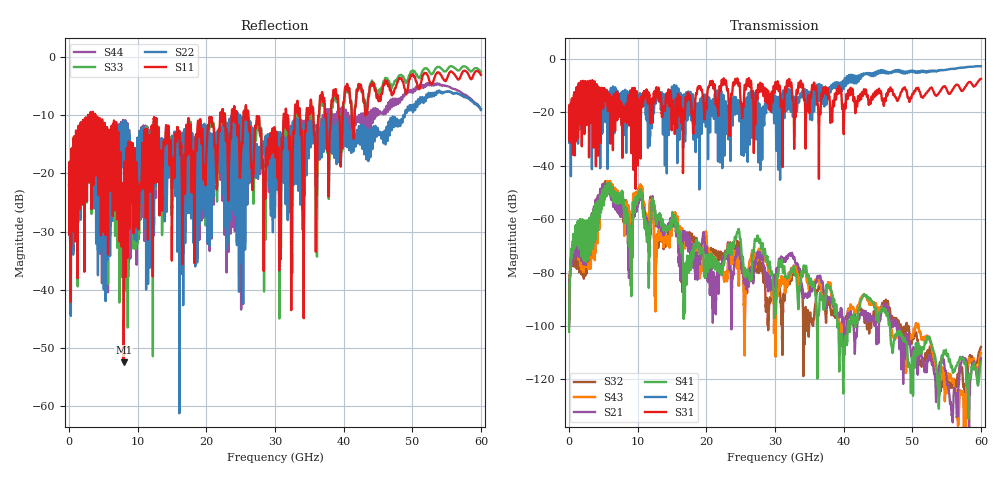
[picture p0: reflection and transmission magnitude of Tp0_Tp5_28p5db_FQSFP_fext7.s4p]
!4 port subset of full cascaded channels using these ports:15 37 16 38
# Hz S RI R 50
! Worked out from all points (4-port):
!   6000 points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, 10 MHz to 60 GHz, reference 50 ohm
!   strongest paths, dB at 10 MHz, 15.01 GHz, 30.01 GHz, 45.01 GHz, 60 GHz:
!     S31: -20.0, -18.2, -10.8, -12.9, -7.4
!     S42: -20.0, -10.7, -13.8, -5.2, -2.7
!     S41: -102.2, -58.8, -93.2, -97.9, -113.3
!     S21: -98.8, -59.3, -82.8, -103.6, -112.0
!     S43: -100.1, -62.0, -95.2, -93.4, -110.2
!     S32: -97.2, -60.7, -86.8, -94.6, -107.8
!   lowest |S11| = -52.5 dB at 7.96 GHz (marker M1), VSWR 1.00, Z = 50 + j0.238 ohm
!   |S11| at or under -10 dB: start of sweep to 2.769 GHz; 3.813 GHz to 22.02 GHz (18.21 GHz wide, 141 % of centre); 26.11 GHz to 31.26 GHz (5.157 GHz wide, 18 % of centre)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
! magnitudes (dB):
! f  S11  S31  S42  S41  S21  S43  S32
! 10 MHz  -21.9  -20.0  -20.0  -102.2  -98.8  -100.1  -97.2
! 5.18 GHz  -11.3  -12.0  -16.2  -52.0  -50.1  -51.2  -49.6
! 7.96 GHz  -52.5  -21.4  -15.7  -54.7  -58.5  -56.8  -61.2
! 15.26 GHz  -17.7  -22.4  -10.9  -60.8  -62.1  -60.4  -61.2
! 16.91 GHz  -22.2  -18.9  -30.9  -78.5  -64.9  -69.6  -66.4
! 24.63 GHz  -12.0  -9.1  -15.5  -64.6  -71.1  -74.2  -69.9
! 60 GHz  -3.1  -7.4  -2.7  -113.3  -112.0  -110.2  -107.8
